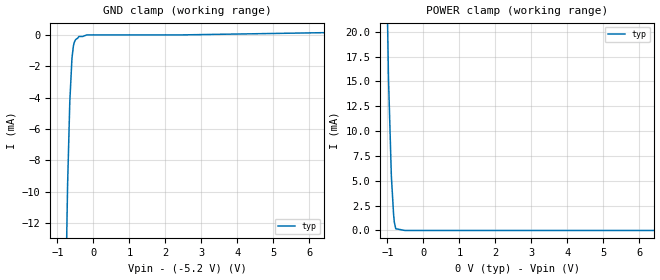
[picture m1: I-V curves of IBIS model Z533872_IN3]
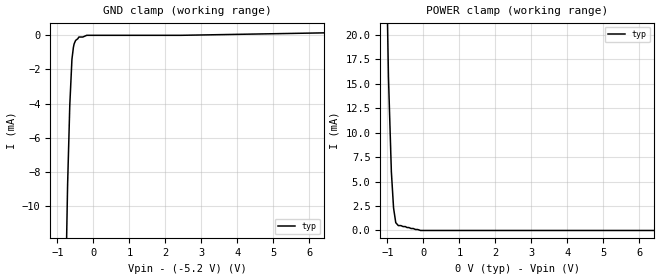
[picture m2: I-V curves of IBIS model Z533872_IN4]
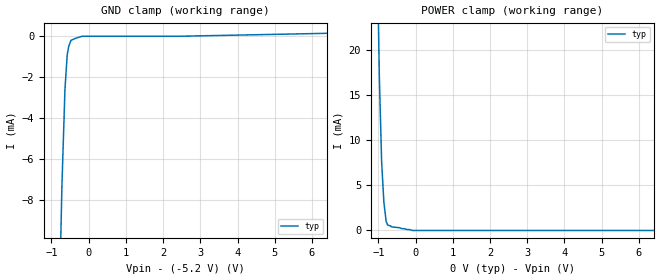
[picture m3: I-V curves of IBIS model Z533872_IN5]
| YOU ARE ONLY AUTHORIZED TO USE THIS SOFTWARE
| ACCORDING TO LICENSOR'S LICENSE RESTRICTIONS.
[IBIS Ver] 3.1
[File Name] mc100el39dw.ibs
[File Rev] 1
[Source] Derived from mc100el13dw.ibs, mc100el16d.ibs and
|   mc100el34d.ibs Measured and created by ICX Technology
[Date] 2/18/2004
[Copyright]
| (C) COPYRIGHT 1993-2000
| MENTOR GRAPHICS CORPORATION
| ICX STANDARD LIBRARY, ICX PROJECT MODELING,
| ICX CUSTOM MODELING, ICX VENDOR MODEL
| ALL RIGHTS RESERVED.
| THE FOLLOWING ARE TRADEMARKS OR SERVICE MARKS OF
| MENTOR GRAPHICS CORPORATION:ICX (R), ICX STANDARD
| LIBRARY(R), ICX PROJECT MODELING(R), ICX CUSTOM
| MODELING(R), qualityIBIS(TM), MODELVIEWER(TM),
| AND MODELEDITOR(TM)
| ALL COPIES OF SOFTWARE, INCLUDING BUT NOT LIMITED TO
| ANY MODIFICATIONS, ENHANCEMENTS OR DERIVATIVE WORKS,
| MUST CONTAIN ALL MENTOR GRAPHICS CORPORATION'S
| NOTICES AND LEGENDS, INCLUDING THOSE EMBEDDED IN
| SOFTWARE AND THOSE AFFIXED TO SOFTWARE MEDIUM
| AND CONTAINER, AS RECEIVED FROM MENTOR GRAPHICS
| CORPORATION.
|  ZAP Model Builder 2.7
[Component] mc100el39dw
[Manufacturer] OnSemiconductor
[Package]
| variable   typ   min   max
R_pkg  .158ohms NA NA
L_pkg  3.37nH NA NA
C_pkg  .4pF NA NA
[Pin] signal_name  model_name  R_pin  L_pin C_pin
1 VCC POWER .158 3.36n .4p
2 _EN Z533872_IN5 .158 3.358n .398p
3 DIVSELb Z533872_OUT1 .15 2.508n .358p
4 CLK Z533872_IN4 .15 2.508n .358p
5 _CLK Z533872_IN4 .15 2.508n .358p
6 VBB NC .154 2.924n .374p
7 MR Z533872_IN3 .158 3.358n .398p
8 VCC POWER .158 3.36n .4p
9 NC NC .154 2.928n .378p
10 DIVSELa Z533872_OUT1 .15 2.508n .358p
11 VEE GND .166 4.25n .44p
12 _Q3 Z533872_OUT2 .15 2.508n .358p
13 Q3 Z533872_OUT1 .15 2.508n .358p
14 _Q2 Z533872_OUT2 .15 2.508n .358p
15 Q2 Z533872_OUT1 .15 2.508n .358p
16 _Q1 Z533872_OUT2 .15 2.508n .358p
17 Q1 Z533872_OUT1 .15 2.508n .358p
18 _Q0 Z533872_OUT2 .15 2.508n .358p
19 Q0 Z533872_OUT1 .15 2.508n .358p
20 VCC POWER .158 3.36n .4p
| Models and submodels in the file (5): Z533872_IN3 (Input_ECL), Z533872_IN4 (Input_ECL), Z533872_IN5 (Input_ECL), Z533872_OUT1 (Output_ECL), Z533872_OUT2 (Output_ECL)
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| (C) COPYRIGHT 1993-2000
| MENTOR GRAPHICS CORPORATION
| ICX STANDARD LIBRARY, ICX PROJECT MODELING,
| ICX CUSTOM MODELING, ICX VENDOR MODEL
| ALL RIGHTS RESERVED.
| THE FOLLOWING ARE TRADEMARKS OR SERVICE MARKS OF
| MENTOR GRAPHICS CORPORATION:ICX (R), ICX STANDARD
| LIBRARY(R), ICX PROJECT MODELING(R), ICX CUSTOM
| MODELING(R), qualityIBIS(TM), MODELVIEWER(TM),
| AND MODELEDITOR(TM)
| ALL COPIES OF SOFTWARE, INCLUDING BUT NOT LIMITED TO
| ANY MODIFICATIONS, ENHANCEMENTS OR DERIVATIVE WORKS,
| MUST CONTAIN ALL MENTOR GRAPHICS CORPORATION'S
| NOTICES AND LEGENDS, INCLUDING THOSE EMBEDDED IN
| SOFTWARE AND THOSE AFFIXED TO SOFTWARE MEDIUM
| AND CONTAINER, AS RECEIVED FROM MENTOR GRAPHICS
| CORPORATION.
| Model Application Version 1.89 2/18/99.
[Model] Z533872_IN3
Model_type Input_ECL
Vinl = -1.475V
Vinh = -1.165V
C_comp 2.000pF NA NA
| variable typ   min   max
[Voltage Range] -5.200V NA NA
[GND Clamp Reference] -5.200V NA NA
[POWER Clamp Reference] 0.000V NA NA
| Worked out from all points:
|   GND clamp passes 1 mA (typ) near -0.57 V on its own axis
|   POWER clamp passes 1 mA (typ) near -0.81 V on its own axis
[GND Clamp]
-5.2V     -612.6mA   NA         NA
-719mV    -9.6mA     NA         NA
-658mV    -4.3mA     NA         NA
-598mV    -1.5mA     NA         NA
-557mV    -700uA     NA         NA
-537mV    -500uA     NA         NA
-496mV    -300uA     NA         NA
-404.8mV  -100uA     NA         NA
-296mV    -100uA     NA         NA
-187.2mV  0A         NA         NA
2.443V    0A         NA         NA
10.4V     286.5uA    NA         NA
[POWER Clamp]
-5.2V     1.273A     NA         NA
-1.074V   38.26mA    NA         NA
-973mV    15.47mA    NA         NA
-892mV    5.469mA    NA         NA
-831mV    1.671mA    NA         NA
-811mV    871.5uA    NA         NA
-770mV    173uA      NA         NA
-513.3mV  0A         NA         NA
10.4V     0A         NA         NA
| (C) COPYRIGHT 1993-2000
| MENTOR GRAPHICS CORPORATION
| ICX STANDARD LIBRARY, ICX PROJECT MODELING,
| ICX CUSTOM MODELING, ICX VENDOR MODEL
| ALL RIGHTS RESERVED.
| THE FOLLOWING ARE TRADEMARKS OR SERVICE MARKS OF
| MENTOR GRAPHICS CORPORATION:ICX (R), ICX STANDARD
| LIBRARY(R), ICX PROJECT MODELING(R), ICX CUSTOM
| MODELING(R), qualityIBIS(TM), MODELVIEWER(TM),
| AND MODELEDITOR(TM)
| ALL COPIES OF SOFTWARE, INCLUDING BUT NOT LIMITED TO
| ANY MODIFICATIONS, ENHANCEMENTS OR DERIVATIVE WORKS,
| MUST CONTAIN ALL MENTOR GRAPHICS CORPORATION'S
| NOTICES AND LEGENDS, INCLUDING THOSE EMBEDDED IN
| SOFTWARE AND THOSE AFFIXED TO SOFTWARE MEDIUM
| AND CONTAINER, AS RECEIVED FROM MENTOR GRAPHICS
| CORPORATION.
| Model Application Version 1.89 2/18/99.
[Model] Z533872_IN4
Model_type Input_ECL
Vinl = -1.475V
Vinh = -1.165V
C_comp 2.000pF NA NA
| variable typ   min   max
[Voltage Range] -5.200V NA NA
[GND Clamp Reference] -5.200V NA NA
[POWER Clamp Reference] 0.000V NA NA
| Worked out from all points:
|   GND clamp passes 1 mA (typ) near -0.57 V on its own axis
|   POWER clamp passes 1 mA (typ) near -0.78 V on its own axis
[GND Clamp]
-5.2V     -523.3mA   NA         NA
-719mV    -8.8mA     NA         NA
-658mV    -4.1mA     NA         NA
-598mV    -1.4mA     NA         NA
-557mV    -700uA     NA         NA
-537mV    -500uA     NA         NA
-496mV    -300uA     NA         NA
-404.8mV  -100uA     NA         NA
-296mV    -100uA     NA         NA
-187.2mV  0A         NA         NA
2.433V    0A         NA         NA
10.4V     287.9uA    NA         NA
[POWER Clamp]
-5.2V     1.214A     NA         NA
-1.074V   37.2mA     NA         NA
-973mV    15.7mA     NA         NA
-892mV    6mA        NA         NA
-831mV    2.3mA      NA         NA
-770mV    800uA      NA         NA
-699mV    500uA      NA         NA
-81mV     0A         NA         NA
10.4V     0A         NA         NA
| (C) COPYRIGHT 1993-2000
| MENTOR GRAPHICS CORPORATION
| ICX STANDARD LIBRARY, ICX PROJECT MODELING,
| ICX CUSTOM MODELING, ICX VENDOR MODEL
| ALL RIGHTS RESERVED.
| THE FOLLOWING ARE TRADEMARKS OR SERVICE MARKS OF
| MENTOR GRAPHICS CORPORATION:ICX (R), ICX STANDARD
| LIBRARY(R), ICX PROJECT MODELING(R), ICX CUSTOM
| MODELING(R), qualityIBIS(TM), MODELVIEWER(TM),
| AND MODELEDITOR(TM)
| ALL COPIES OF SOFTWARE, INCLUDING BUT NOT LIMITED TO
| ANY MODIFICATIONS, ENHANCEMENTS OR DERIVATIVE WORKS,
| MUST CONTAIN ALL MENTOR GRAPHICS CORPORATION'S
| NOTICES AND LEGENDS, INCLUDING THOSE EMBEDDED IN
| SOFTWARE AND THOSE AFFIXED TO SOFTWARE MEDIUM
| AND CONTAINER, AS RECEIVED FROM MENTOR GRAPHICS
| CORPORATION.
| Model Application Version 1.89 2/18/99.
[Model] Z533872_IN5
Model_type Input_ECL
Vinl = -1.475V
Vinh = -1.165V
C_comp 2.000pF NA NA
| variable typ   min   max
[Voltage Range] -5.200V NA NA
[GND Clamp Reference] -5.200V NA NA
[POWER Clamp Reference] 0.000V NA NA
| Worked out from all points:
|   GND clamp passes 1 mA (typ) near -0.58 V on its own axis
|   POWER clamp passes 1 mA (typ) near -0.79 V on its own axis
[GND Clamp]
-5.2V     -378mA     NA         NA
-719mV    -7.3mA     NA         NA
-638mV    -2.6mA     NA         NA
-577mV    -900uA     NA         NA
-537mV    -500uA     NA         NA
-476mV    -200uA     NA         NA
-354mV    -100uA     NA         NA
-177mV    0A         NA         NA
2.433V    0A         NA         NA
10.4V     287.9uA    NA         NA
[POWER Clamp]
-5.2V     1.279A     NA         NA
-1.074V   41.6mA     NA         NA
-973mV    17mA       NA         NA
-912mV    7.6mA      NA         NA
-851mV    3.1mA      NA         NA
-790mV    1mA        NA         NA
-750mV    600uA      NA         NA
-648mV    400uA      NA         NA
-81mV     0A         NA         NA
10.4V     0A         NA         NA
